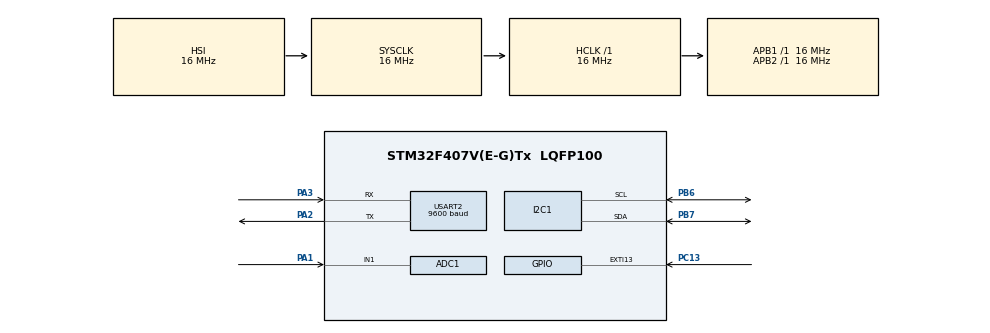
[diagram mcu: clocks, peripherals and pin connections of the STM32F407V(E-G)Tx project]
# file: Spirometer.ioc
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ADC1.Channel-0\#ChannelRegularConversion=ADC_CHANNEL_1
ADC1.NbrOfConversionFlag=1
ADC1.Rank-0\#ChannelRegularConversion=1
ADC1.SamplingTime-0\#ChannelRegularConversion=ADC_SAMPLETIME_3CYCLES
ADC1.master=1
Mcu.Family=STM32F4
Mcu.Name=STM32F407V(E-G)Tx
Mcu.Package=LQFP100
NVIC.EXTI15_10_IRQn=true\:0\:0\:false\:false\:true\:true\:true\:true
NVIC.PriorityGroup=NVIC_PRIORITYGROUP_4
PA1.Signal=ADCx_IN1
PA2.Mode=Asynchronous
PA2.Signal=USART2_TX
PA3.Mode=Asynchronous
PA3.Signal=USART2_RX
PB6.Mode=I2C
PB6.Signal=I2C1_SCL
PB7.Mode=I2C
PB7.Signal=I2C1_SDA
PC13-ANTI_TAMP.GPIO_ModeDefaultEXTI=GPIO_MODE_IT_FALLING
PC13-ANTI_TAMP.GPIO_PuPd=GPIO_PULLUP
PC13-ANTI_TAMP.Signal=GPXTI13
ProjectManager.HeapSize=0x200
ProjectManager.StackSize=0x400
ProjectManager.TargetToolchain=STM32CubeIDE
RCC.AHBFreq_Value=16000000
RCC.APB1Freq_Value=16000000
RCC.APB2Freq_Value=16000000
RCC.CortexFreq_Value=16000000
RCC.HSE_VALUE=25000000
RCC.HSI_VALUE=16000000
RCC.LSE_VALUE=32768
RCC.SYSCLKFreq_VALUE=16000000
RCC.VCOOutputFreq_Value=192000000
SH.ADCx_IN1.0=ADC1_IN1,IN1
USART2.BaudRate=9600
USART2.VirtualMode=VM_ASYNC
board=custom

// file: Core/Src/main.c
/* USER CODE BEGIN Header */
/**
  ******************************************************************************
  * @file           : main.c
  * @brief          : Main program body
  ******************************************************************************
  * @attention
  *
  * Copyright (c) 2025 STMicroelectronics.
  * All rights reserved.
  *
  * This software is licensed under terms that can be found in the LICENSE file
  * in the root directory of this software component.
  * If no LICENSE file comes with this software, it is provided AS-IS.
  *
  ******************************************************************************
  */
/* USER CODE END Header */
#include "main.h"

/* USER CODE BEGIN Includes */
#include "max30102_for_stm32_hal.h"
#include "string.h"
#include "stdio.h"
#include <stdbool.h>
/* USER CODE END Includes */

/* USER CODE BEGIN PD */
#define SPO2_BUFFER_SIZE 100
/* USER CODE END PD */

ADC_HandleTypeDef hadc1;

I2C_HandleTypeDef hi2c1;

UART_HandleTypeDef huart2;

void SystemClock_Config(void);
static void MX_GPIO_Init(void);
static void MX_I2C1_Init(void);
static void MX_ADC1_Init(void);
static void MX_USART2_UART_Init(void);

/* USER CODE BEGIN 0 */
float flow;
float rawValue;
max30102_t max30102;
uint32_t ir_buffer[SPO2_BUFFER_SIZE] = {0};
uint32_t red_buffer[SPO2_BUFFER_SIZE] = {0};
int spo2_index = 0;
bool buffer_filled = false;  // Track if buffer is full
char name[] = "Lenin";
uint8_t age = 19;
char dob[] = "26-05-2006";
float flow_value = 0.00;
uint32_t ir_value = 0;
uint32_t red_value = 0;
volatile uint32_t debug_ir_value = 0;
volatile uint32_t debug_red_value = 0;
volatile uint32_t debug_sample_count = 0;
volatile float debug_SpO2 = 0;
uint32_t ir_sample=0;
uint32_t red_sample=0;
void max30102_plot(uint32_t ir_sample, uint32_t red_sample)
{
    // Store raw values
    debug_ir_value = ir_sample;
    debug_red_value = red_sample;
    ir_value = ir_sample;
    red_value = red_sample;

    // Add to circular buffers
    ir_buffer[spo2_index] = ir_sample;
    red_buffer[spo2_index] = red_sample;
    spo2_index = (spo2_index + 1) % SPO2_BUFFER_SIZE;

    // Increment debug counter
    debug_sample_count++;
}

float flowRate(uint16_t rawValue){
    float rawVoltage = ((float)rawValue / 4095.0f) * 3.3f;
    flow = rawVoltage * 34.0f - 26.4f;
    return flow;
}
void send_to_nextion(char *cmd){
    HAL_UART_Transmit(&huart2, (uint8_t*)cmd, strlen(cmd), HAL_MAX_DELAY);
    uint8_t end_bytes[3] = {0xFF, 0xFF, 0xFF};
    HAL_UART_Transmit(&huart2, end_bytes, 3, HAL_MAX_DELAY);
}

void send_measure_data(void) {
    char cmd[50];

    sprintf(cmd, "Page1_Measure.flow_txt.txt=\"%d.%d\"", (int)flow_value, (int)((flow_value - (int)flow_value)*10));
    send_to_nextion(cmd);

    sprintf(cmd, "Page1_Measure.ir_txt.txt=\"%lu\"", ir_value);
    send_to_nextion(cmd);

    sprintf(cmd, "Page1_Measure.red_txt.txt=\"%lu\"", red_value);
    send_to_nextion(cmd);

    sprintf(cmd, "Page1_Measure.spo2_txt.txt=\"%d.%d\"", (int)debug_SpO2, (int)((debug_SpO2 - (int)debug_SpO2)*10));
    send_to_nextion(cmd);
}

void send_profile_data(void) {
    char cmd[50];

    sprintf(cmd, "Page2_Profile.name_txt.txt=\"%s\"", name);
    send_to_nextion(cmd);

    sprintf(cmd, "Page2_Profile.age_txt.txt=\"%d\"", age);
    send_to_nextion(cmd);

    sprintf(cmd, "Page2_Profile.dob_txt.txt=\"%s\"", dob);
    send_to_nextion(cmd);
}

float calculate_ac_dc(uint32_t *buffer, int length, float *dc) {
    uint32_t max = 0, min = 0xFFFFFFFF;
    uint64_t sum = 0;  // Use 64-bit to prevent overflow

    // Find min, max, and sum
    for(int i = 0; i < length; i++){
        if(buffer[i] > max) max = buffer[i];
        if(buffer[i] < min) min = buffer[i];
        sum += buffer[i];
    }

    *dc = (float)sum / length;
    return (float)(max - min);  // AC component
}

float calculate_spo2(uint32_t *red_buf, uint32_t *ir_buf, int len){
    // Don't calculate until we have enough valid samples
    if (!buffer_filled && spo2_index < 50) {  // Need at least 50 samples
        return 0;
    }

    int samples_to_use = buffer_filled ? len : spo2_index;

    float red_dc, ir_dc;
    float red_ac = calculate_ac_dc(red_buf, samples_to_use, &red_dc);
    float ir_ac = calculate_ac_dc(ir_buf, samples_to_use, &ir_dc);

    // Check for division by zero
    if (red_dc < 1.0f || ir_dc < 1.0f || red_ac < 1.0f || ir_ac < 1.0f) {
        return 0;  // Invalid reading
    }

    // Calculate R ratio
    float R = (red_ac / red_dc) / (ir_ac / ir_dc);

    // Apply calibrated SpO2 formula (this may need adjustment for your sensor)
    float spo2 = 110 - 25 * R;

    // Clamp to reasonable values
    if (spo2 > 100) spo2 = 100;
    if (spo2 < 70) spo2 = 0;  // Below 70% is likely invalid

    return spo2;
}

/* USER CODE END 0 */

int main(void)
{

  /* MCU Configuration--------------------------------------------------------*/

  /* Reset of all peripherals, Initializes the Flash interface and the Systick. */
  HAL_Init();

  /* Configure the system clock */
  SystemClock_Config();

  /* Initialize all configured peripherals */
  MX_GPIO_Init();
  MX_I2C1_Init();
  MX_ADC1_Init();
  MX_USART2_UART_Init();
  /* USER CODE BEGIN 2 */
  max30102_init(&max30102, &hi2c1);
  max30102_reset(&max30102);
  max30102_clear_fifo(&max30102);
  // FIFO configurations
  max30102_set_fifo_config(&max30102, max30102_smp_ave_8, 1, 7);
  // LED configurations
  max30102_set_led_pulse_width(&max30102, max30102_pw_18_bit);
  max30102_set_adc_resolution(&max30102, max30102_adc_4096);
  max30102_set_sampling_rate(&max30102, max30102_sr_200);
  max30102_set_led_current_1(&max30102, 12.5);
  max30102_set_led_current_2(&max30102, 12.5);

  // Enter SpO2 mode
  max30102_set_mode(&max30102, max30102_spo2);

  // Enable FIFO_A_FULL interrupt
  max30102_set_a_full(&max30102, 1);
  // Enable die temperature measurement
  max30102_set_die_temp_en(&max30102, 1);
  // Enable DIE_TEMP_RDY interrupt
  max30102_set_die_temp_rdy(&max30102, 1);

  uint8_t en_reg[2] = {0};
  max30102_read(&max30102, 0x00, en_reg, 1);
  /* USER CODE END 2 */

  /* Infinite loop */
  /* USER CODE BEGIN WHILE */
  while (1)
  {
	    // Read flow ADC
	    HAL_ADC_Start(&hadc1);
	    HAL_ADC_PollForConversion(&hadc1, 100);
	    rawValue = HAL_ADC_GetValue(&hadc1);
	    flow_value = flowRate(rawValue);   // Update flow_value for Nextion

	    // MAX30102 interrupt handler
	    if (max30102_has_interrupt(&max30102)) {
	        max30102_interrupt_handler(&max30102);
	    }
	    debug_SpO2 = calculate_spo2(red_buffer, ir_buffer, SPO2_BUFFER_SIZE);
	    // You can add a small delay if needed
	    send_measure_data();
	    send_profile_data();
	    HAL_Delay(50);
    /* USER CODE END WHILE */

  }
}

void SystemClock_Config(void)
{
  RCC_OscInitTypeDef RCC_OscInitStruct = {0};
  RCC_ClkInitTypeDef RCC_ClkInitStruct = {0};

  /** Configure the main internal regulator output voltage
  */
  __HAL_RCC_PWR_CLK_ENABLE();
  __HAL_PWR_VOLTAGESCALING_CONFIG(PWR_REGULATOR_VOLTAGE_SCALE1);

  /** Initializes the RCC Oscillators according to the specified parameters
  * in the RCC_OscInitTypeDef structure.
  */
  RCC_OscInitStruct.OscillatorType = RCC_OSCILLATORTYPE_HSI;
  RCC_OscInitStruct.HSIState = RCC_HSI_ON;
  RCC_OscInitStruct.HSICalibrationValue = RCC_HSICALIBRATION_DEFAULT;
  RCC_OscInitStruct.PLL.PLLState = RCC_PLL_NONE;
  if (HAL_RCC_OscConfig(&RCC_OscInitStruct) != HAL_OK)
  {
    Error_Handler();
  }

  /** Initializes the CPU, AHB and APB buses clocks
  */
  RCC_ClkInitStruct.ClockType = RCC_CLOCKTYPE_HCLK|RCC_CLOCKTYPE_SYSCLK
                              |RCC_CLOCKTYPE_PCLK1|RCC_CLOCKTYPE_PCLK2;
  RCC_ClkInitStruct.SYSCLKSource = RCC_SYSCLKSOURCE_HSI;
  RCC_ClkInitStruct.AHBCLKDivider = RCC_SYSCLK_DIV1;
  RCC_ClkInitStruct.APB1CLKDivider = RCC_HCLK_DIV1;
  RCC_ClkInitStruct.APB2CLKDivider = RCC_HCLK_DIV1;

  if (HAL_RCC_ClockConfig(&RCC_ClkInitStruct, FLASH_LATENCY_0) != HAL_OK)
  {
    Error_Handler();
  }
}

static void MX_ADC1_Init(void)
{

  ADC_ChannelConfTypeDef sConfig = {0};

  /** Configure the global features of the ADC (Clock, Resolution, Data Alignment and number of conversion)
  */
  hadc1.Instance = ADC1;
  hadc1.Init.ClockPrescaler = ADC_CLOCK_SYNC_PCLK_DIV2;
  hadc1.Init.Resolution = ADC_RESOLUTION_12B;
  hadc1.Init.ScanConvMode = DISABLE;
  hadc1.Init.ContinuousConvMode = DISABLE;
  hadc1.Init.DiscontinuousConvMode = DISABLE;
  hadc1.Init.ExternalTrigConvEdge = ADC_EXTERNALTRIGCONVEDGE_NONE;
  hadc1.Init.ExternalTrigConv = ADC_SOFTWARE_START;
  hadc1.Init.DataAlign = ADC_DATAALIGN_RIGHT;
  hadc1.Init.NbrOfConversion = 1;
  hadc1.Init.DMAContinuousRequests = DISABLE;
  hadc1.Init.EOCSelection = ADC_EOC_SINGLE_CONV;
  if (HAL_ADC_Init(&hadc1) != HAL_OK)
  {
    Error_Handler();
  }

  /** Configure for the selected ADC regular channel its corresponding rank in the sequencer and its sample time.
  */
  sConfig.Channel = ADC_CHANNEL_1;
  sConfig.Rank = 1;
  sConfig.SamplingTime = ADC_SAMPLETIME_3CYCLES;
  if (HAL_ADC_ConfigChannel(&hadc1, &sConfig) != HAL_OK)
  {
    Error_Handler();
  }

}

static void MX_I2C1_Init(void)
{

  hi2c1.Instance = I2C1;
  hi2c1.Init.ClockSpeed = 100000;
  hi2c1.Init.DutyCycle = I2C_DUTYCYCLE_2;
  hi2c1.Init.OwnAddress1 = 0;
  hi2c1.Init.AddressingMode = I2C_ADDRESSINGMODE_7BIT;
  hi2c1.Init.DualAddressMode = I2C_DUALADDRESS_DISABLE;
  hi2c1.Init.OwnAddress2 = 0;
  hi2c1.Init.GeneralCallMode = I2C_GENERALCALL_DISABLE;
  hi2c1.Init.NoStretchMode = I2C_NOSTRETCH_DISABLE;
  if (HAL_I2C_Init(&hi2c1) != HAL_OK)
  {
    Error_Handler();
  }

}

static void MX_USART2_UART_Init(void)
{

  huart2.Instance = USART2;
  huart2.Init.BaudRate = 9600;
  huart2.Init.WordLength = UART_WORDLENGTH_8B;
  huart2.Init.StopBits = UART_STOPBITS_1;
  huart2.Init.Parity = UART_PARITY_NONE;
  huart2.Init.Mode = UART_MODE_TX_RX;
  huart2.Init.HwFlowCtl = UART_HWCONTROL_NONE;
  huart2.Init.OverSampling = UART_OVERSAMPLING_16;
  if (HAL_UART_Init(&huart2) != HAL_OK)
  {
    Error_Handler();
  }

}

static void MX_GPIO_Init(void)
{
  GPIO_InitTypeDef GPIO_InitStruct = {0};

  /* GPIO Ports Clock Enable */
  __HAL_RCC_GPIOC_CLK_ENABLE();
  __HAL_RCC_GPIOA_CLK_ENABLE();
  __HAL_RCC_GPIOB_CLK_ENABLE();

  /*Configure GPIO pin : PC13 */
  GPIO_InitStruct.Pin = GPIO_PIN_13;
  GPIO_InitStruct.Mode = GPIO_MODE_IT_FALLING;
  GPIO_InitStruct.Pull = GPIO_PULLUP;
  HAL_GPIO_Init(GPIOC, &GPIO_InitStruct);

  /* EXTI interrupt init*/
  HAL_NVIC_SetPriority(EXTI15_10_IRQn, 0, 0);
  HAL_NVIC_EnableIRQ(EXTI15_10_IRQn);

}

void Error_Handler(void)
{
  __disable_irq();
  while (1)
  {
  }
}
